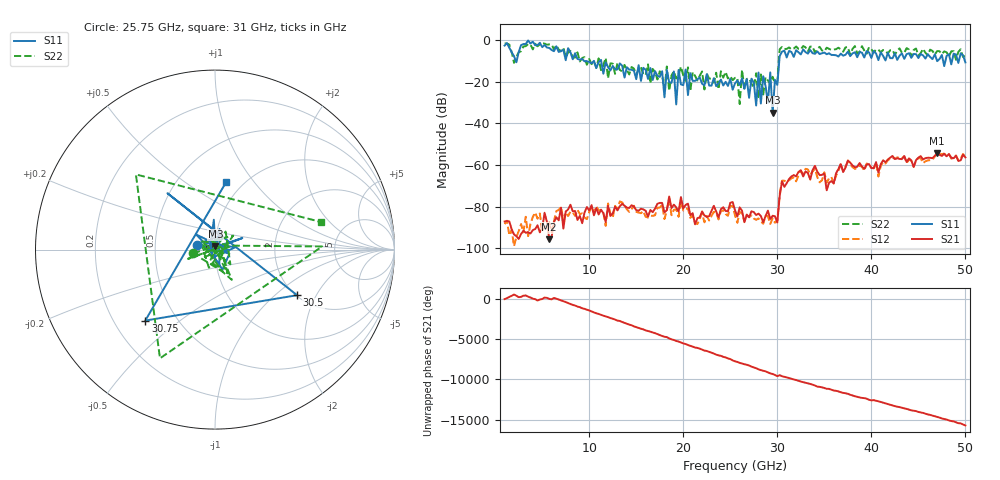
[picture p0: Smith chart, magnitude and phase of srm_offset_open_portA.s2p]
# GHz S RI R 50.0
!freq ReS11 ImS11 ReS21 ImS21 ReS12 ImS12 ReS22 ImS22
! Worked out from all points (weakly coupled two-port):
!   197 points, 1 GHz to 50 GHz, reference 50 ohm
!   highest |S21| = -54.24 dB at 47 GHz (marker M1); lowest = -95.5 dB at 5.75 GHz (marker M2)
!   lowest |S11| = -34.9 dB at 29.5 GHz (marker M3), VSWR 1.04, Z = 50.1 + j1.8 ohm
!   |S11| at or under -10 dB: 2.19 GHz to 2.286 GHz (95.95 MHz wide, 4.29 % of centre); 9.444 GHz to 11.15 GHz (1.702 GHz wide, 16.5 % of centre); 11.27 GHz to 30.21 GHz (18.94 GHz wide, 91.3 % of centre) (the widest 3 of 8)
!   |S22| runs from -30.7 to -1.6 dB; largest |S21 - S12| = 0.0037
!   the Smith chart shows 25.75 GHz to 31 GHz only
!   S11 on the Smith chart (normalised r, x): 25.75 GHz: 0.81, +0.04; 30.5 GHz: 2.02, -1.42; 30.75 GHz: 0.33, -0.38; 31 GHz: 0.84, +0.74
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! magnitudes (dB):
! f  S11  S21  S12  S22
! 1 GHz  -2.7  -87.1  -88.3  -1.6
! 5.75 GHz  -3.8  -95.5  -87.5  -2.1
! 9.25 GHz  -9.2  -87.9  -83.2  -8.6
! 17.5 GHz  -17.7  -78.1  -80.4  -15.0
! 19 GHz  -15.1  -79.0  -81.4  -15.1
! 19.25 GHz  -30.9  -80.3  -81.2  -18.5
! 19.5 GHz  -14.4  -82.3  -84.8  -17.0
! 20.5 GHz  -26.4  -78.5  -80.9  -13.1
! 25.5 GHz  -20.8  -81.6  -84.1  -18.2
! 25.75 GHz  -19.5  -84.7  -87.7  -18.1
! 26 GHz  -21.6  -80.3  -82.4  -30.7
! 26.25 GHz  -18.4  -81.9  -83.1  -14.3
! 29 GHz  -30.2  -81.8  -84.5  -19.5
! 29.25 GHz  -15.6  -85.8  -88.3  -21.1
! 29.5 GHz  -34.9  -84.3  -85.5  -17.7
! 30.5 GHz  -5.6  -67.8  -67.5  -3.4
! 30.75 GHz  -5.1  -70.5  -67.5  -4.3
! 31 GHz  -8.4  -68.7  -68.1  -4.3
! 33.75 GHz  -6.4  -62.4  -63.1  -3.1
! 42 GHz  -8.7  -56.4  -56.8  -4.9
! 47 GHz  -10.2  -54.2  -54.1  -5.3
! 50 GHz  -10.8  -56.3  -56.4  -7.0
